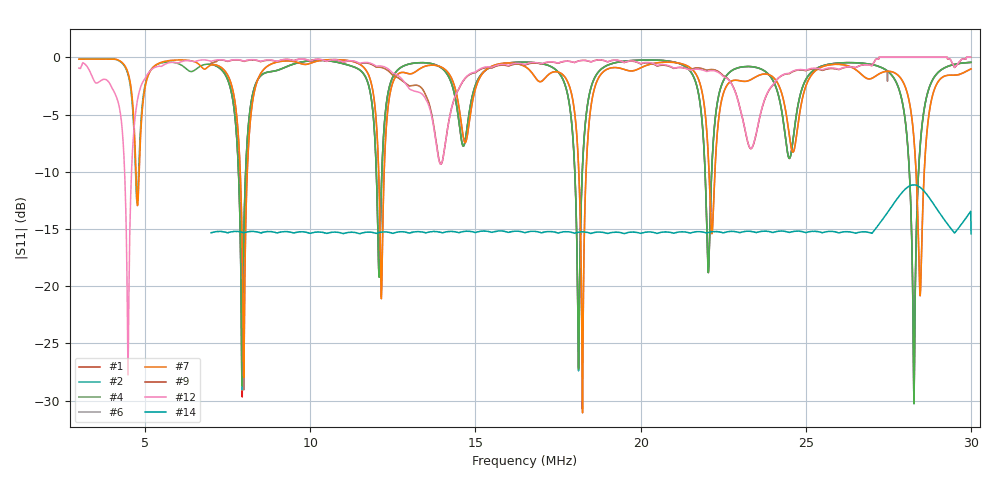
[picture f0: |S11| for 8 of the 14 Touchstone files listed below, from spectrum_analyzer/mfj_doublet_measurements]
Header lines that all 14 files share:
! Touchstone file generated by AntScope2
# MHz Z RI R 50
! Format: Frequency Z-real Z-imaginary (normalized to 50 Ohm)
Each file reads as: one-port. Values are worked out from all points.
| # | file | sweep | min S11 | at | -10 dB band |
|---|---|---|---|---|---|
| 1 | backyard_mfj_ladderline_balun_1.s1p | 7 MHz to 30 MHz | -30.1 dB | 28.27 MHz | 278.4 kHz wide |
| 2 | backyard_mfj_ladderline_balun_2.s1p | 7 MHz to 30 MHz | -30.0 dB | 28.27 MHz | 278.4 kHz wide |
| 3 | backyard_mfj_ladderline_balun_80m_1.s1p | 3 MHz to 30 MHz | -30.4 dB | 28.27 MHz | 278.7 kHz wide |
| 4 | backyard_mfj_ladderline_balun_80m_2.s1p | 3 MHz to 30 MHz | -30.3 dB | 28.27 MHz | 278.5 kHz wide |
| 5 | backyard_mfj_ladderline_bannana_1.s1p | 7 MHz to 30 MHz | -30.5 dB | 18.24 MHz | 248.9 kHz wide |
| 6 | backyard_mfj_ladderline_bannana_2.s1p | 7 MHz to 30 MHz | -30.7 dB | 18.24 MHz | 248.8 kHz wide |
| 7 | backyard_mfj_ladderline_bannana_80m_1.s1p | 3 MHz to 30 MHz | -31.1 dB | 18.24 MHz | 248.8 kHz wide |
| 8 | backyard_mfj_ladderline_bannana_80m_2.s1p | 3 MHz to 30 MHz | -31.4 dB | 18.24 MHz | 248.9 kHz wide |
| 9 | backyard_mfj_stock1.s1p | 7 MHz to 29.99 MHz | -9.3 dB | 13.96 MHz | - |
| 10 | backyard_mfj_stock2.s1p | 7 MHz to 29.99 MHz | -9.3 dB | 13.96 MHz | - |
| 11 | backyard_mfj_stock_80m_1.s1p | 3 MHz to 29.99 MHz | -26.5 dB | 4.485 MHz | 204.4 kHz wide |
| 12 | backyard_mfj_stock_80m_2.s1p | 3 MHz to 29.99 MHz | -27.7 dB | 4.485 MHz | 209.2 kHz wide |
| 13 | terminator_50.s1p | 7 MHz to 30 MHz | -34.3 dB | 24.49 MHz | over 23 MHz wide |
| 14 | terminator_75.s1p | 7 MHz to 30 MHz | -15.4 dB | 11.5 MHz | over 23 MHz wide |
